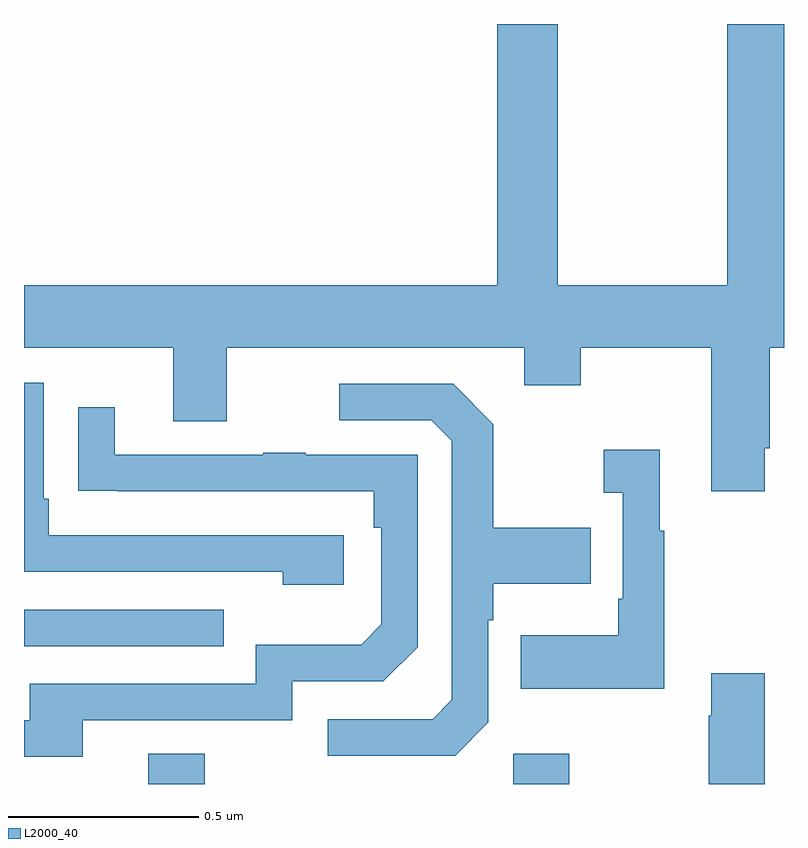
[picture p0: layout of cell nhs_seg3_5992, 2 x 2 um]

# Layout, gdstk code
import gdstk
lib = gdstk.Library(unit=1e-6, precision=1e-09)
def R(c, l, rs):  # rectangles x0, y0, x1, y1
    for r in rs: c.add(gdstk.rectangle(r[:2], r[2:], *l))
def P(c, l, *ps):  # polygons
    for p in ps: c.add(gdstk.Polygon(p, *l))
L2000_40 = (2000, 40)

nhs_seg3_5992 = lib.new_cell('nhs_seg3_5992')
R(nhs_seg3_5992, L2000_40, [(185.327,734.4,185.475,734.479), (186.288,734.4,186.435,734.479), (185,734.763,185.525,734.859)])
P(nhs_seg3_5992, L2000_40, [(185,735.548),(185.393,735.548),(185.393,735.354),(185.533,735.354),(185.533,735.548),(186.317,735.548),(186.317,735.449),(186.465,735.449),(186.465,735.548),(186.809,735.548),(186.809,735.171),(186.949,735.171),(186.949,735.283),(186.962,735.283),(186.962,735.548),(187,735.548),(187,736.4),(186.85,736.4),(186.85,735.712),(186.405,735.712),(186.405,736.4),(186.245,736.4),(186.245,735.712),(185,735.712)],
  [(185.842,735.054),(185.065,735.054),(185.065,735.151),(185.052,735.151),(185.052,735.456),(185,735.456),(185,734.958),(185.681,734.958),(185.681,734.924),(185.842,734.924)],
  [(186.222,734.562),(186.222,734.831),(186.235,734.831),(186.235,734.927),(186.491,734.927),(186.491,735.075),(186.235,735.075),(186.235,735.347),(186.129,735.453),(185.829,735.453),(185.829,735.357),(186.072,735.357),(186.126,735.303),(186.126,734.622),(186.075,734.571),(185.799,734.571),(185.799,734.475),(186.135,734.475)],
  [(185.155,734.568),(185.706,734.568),(185.706,734.67),(185.946,734.67),(186.036,734.76),(186.036,735.267),(185.741,735.267),(185.741,735.272),(185.629,735.272),(185.629,735.267),(185.239,735.267),(185.239,735.391),(185.143,735.391),(185.143,735.172),(185.245,735.172),(185.245,735.171),(185.92,735.171),(185.92,735.074),(185.94,735.074),(185.94,734.82),(185.887,734.767),(185.61,734.767),(185.61,734.664),(185.015,734.664),(185.015,734.568),(185,734.568),(185,734.472),(185.155,734.472)],
  [(186.685,735.067),(186.673,735.067),(186.673,735.28),(186.525,735.28),(186.525,735.167),(186.576,735.167),(186.576,734.887),(186.564,734.887),(186.564,734.791),(186.307,734.791),(186.307,734.651),(186.685,734.651)],
  [(186.949,734.692),(186.809,734.692),(186.809,734.579),(186.802,734.579),(186.802,734.4),(186.949,734.4)])

lib.write_gds('nhs_seg3_5992.gds')
